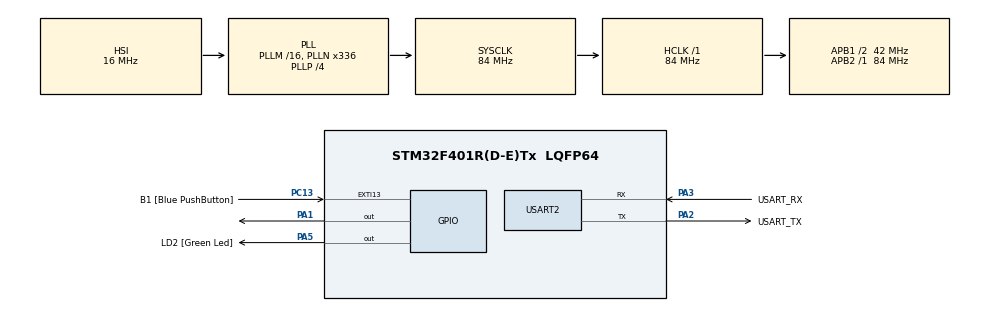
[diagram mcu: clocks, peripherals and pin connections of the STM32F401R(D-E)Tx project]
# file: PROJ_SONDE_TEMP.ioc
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Mcu.Family=STM32F4
Mcu.Name=STM32F401R(D-E)Tx
Mcu.Package=LQFP64
NVIC.PriorityGroup=NVIC_PRIORITYGROUP_4
PA1.GPIO_ModeDefaultOutputPP=GPIO_MODE_OUTPUT_OD
PA1.GPIO_PuPd=GPIO_PULLUP
PA1.Signal=GPIO_Output
PA13.GPIO_Label=TMS
PA13.Mode=Trace_Asynchronous_SW
PA13.Signal=SYS_JTMS-SWDIO
PA14.GPIO_Label=TCK
PA14.Mode=Trace_Asynchronous_SW
PA14.Signal=SYS_JTCK-SWCLK
PA2.GPIO_Label=USART_TX
PA2.GPIO_Mode=GPIO_MODE_AF_PP
PA2.GPIO_PuPd=GPIO_NOPULL
PA2.GPIO_Speed=GPIO_SPEED_FREQ_LOW
PA2.Mode=Asynchronous
PA2.Signal=USART2_TX
PA3.GPIO_Label=USART_RX
PA3.GPIO_Mode=GPIO_MODE_AF_PP
PA3.GPIO_PuPd=GPIO_NOPULL
PA3.GPIO_Speed=GPIO_SPEED_FREQ_LOW
PA3.Mode=Asynchronous
PA3.Signal=USART2_RX
PA5.GPIO_Label=LD2 [Green Led]
PA5.GPIO_Mode=GPIO_MODE_OUTPUT_PP
PA5.GPIO_PuPd=GPIO_NOPULL
PA5.GPIO_Speed=GPIO_SPEED_FREQ_LOW
PA5.Signal=GPIO_Output
PB3.GPIO_Label=SWO
PB3.Mode=Trace_Asynchronous_SW
PB3.Signal=SYS_JTDO-SWO
PC13-ANTI_TAMP.GPIO_Label=B1 [Blue PushButton]
PC13-ANTI_TAMP.GPIO_ModeDefaultEXTI=GPIO_MODE_IT_FALLING
PC13-ANTI_TAMP.GPIO_PuPd=GPIO_NOPULL
PC13-ANTI_TAMP.Signal=GPXTI13
PC14-OSC32_IN.Mode=LSE-External-Oscillator
PC14-OSC32_IN.Signal=RCC_OSC32_IN
PC15-OSC32_OUT.Mode=LSE-External-Oscillator
PC15-OSC32_OUT.Signal=RCC_OSC32_OUT
PH0\ -\ OSC_IN.Mode=HSE-External-Clock-Source
PH0\ -\ OSC_IN.Signal=RCC_OSC_IN
PH1\ -\ OSC_OUT.Mode=HSE-External-Clock-Source
PH1\ -\ OSC_OUT.Signal=RCC_OSC_OUT
ProjectManager.HeapSize=0x200
ProjectManager.StackSize=0x400
ProjectManager.TargetToolchain=STM32CubeIDE
RCC.48MHZClocksFreq_Value=48000000
RCC.AHBFreq_Value=84000000
RCC.APB1CLKDivider=RCC_HCLK_DIV2
RCC.APB1Freq_Value=42000000
RCC.APB1TimFreq_Value=84000000
RCC.APB2Freq_Value=84000000
RCC.APB2TimFreq_Value=84000000
RCC.CortexFreq_Value=84000000
RCC.HCLKFreq_Value=84000000
RCC.HSE_VALUE=8000000
RCC.HSI_VALUE=16000000
RCC.PLLN=336
RCC.PLLP=RCC_PLLP_DIV4
RCC.PLLQ=7
RCC.SYSCLKFreq_VALUE=84000000
RCC.SYSCLKSource=RCC_SYSCLKSOURCE_PLLCLK
RCC.VCOOutputFreq_Value=336000000
TIM3.AutoReloadPreload=TIM_AUTORELOAD_PRELOAD_ENABLE
TIM3.Channel-Output\ Compare1\ No\ Output=TIM_CHANNEL_1
TIM3.OCMode_1=TIM_OCMODE_TOGGLE
TIM3.Prescaler=83
USART2.VirtualMode=VM_ASYNC
VP_TIM3_VS_ClockSourceINT.Mode=Internal
VP_TIM3_VS_no_output1.Mode=Output Compare1 No Output
board=NUCLEO-F401RE

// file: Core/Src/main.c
/* USER CODE BEGIN Header */
/**
  ******************************************************************************
  * @file           : main.c
  * @brief          : Main program body
  ******************************************************************************
  * @attention
  *
  * Copyright (c) 2025 STMicroelectronics.
  * All rights reserved.
  *
  * This software is licensed under terms that can be found in the LICENSE file
  * in the root directory of this software component.
  * If no LICENSE file comes with this software, it is provided AS-IS.
  *
  ******************************************************************************
  */
/* USER CODE END Header */
#include "main.h"

/* USER CODE BEGIN Includes */
#include "onewire.h"
#include "ds18b20.h"
#include "stdio.h"
#include "string.h"
/* USER CODE END Includes */

/* USER CODE BEGIN PD */

#define DHT22_PORT GPIOA
#define DHT22_PIN GPIO_PIN_0

#define SYSTICK_LOAD (SystemCoreClock/1000000U)
#define SYSTICK_DELAY_CALIB (SYSTICK_LOAD >> 1)

#define DELAY_US(us) \
    do { \
         uint32_t start = SysTick->VAL; \
         uint32_t ticks = (us * SYSTICK_LOAD)-SYSTICK_DELAY_CALIB;  \
         while((start - SysTick->VAL) < ticks); \
    } while (0)

#define DELAY_MS(ms) \
    do { \
        for (uint32_t i = 0; i < ms; ++i) { \
            DELAY_US(1000); \
        } \
    } while (0)

/* USER CODE END PD */

TIM_HandleTypeDef htim3;

UART_HandleTypeDef huart2;

/* USER CODE BEGIN PV */
float tempC;
char msg[50];
/* USER CODE END PV */

void SystemClock_Config(void);
void MX_GPIO_Init(void);
void MX_USART2_UART_Init(void);
void MX_TIM3_Init(void);
/* USER CODE BEGIN PFP */
void DHT22_Start(void);
uint8_t DHT22_Check_Response(void);
uint8_t DHT22_Read(uint8_t *data);
uint8_t DHT22_Read_Byte(void);
void Read_DHT22_UART(void);
/* USER CODE END PFP */

/* USER CODE BEGIN 0 */

void DHT22_Start(void) {
    GPIO_InitTypeDef GPIO_InitStruct = {0};

    // Configurer la broche en sortie pour l'impulsion de départ
    GPIO_InitStruct.Pin = DHT22_PIN;
    GPIO_InitStruct.Mode = GPIO_MODE_OUTPUT_PP;
    GPIO_InitStruct.Pull = GPIO_NOPULL;
    GPIO_InitStruct.Speed = GPIO_SPEED_FREQ_LOW;
    HAL_GPIO_Init(DHT22_PORT, &GPIO_InitStruct);

    HAL_GPIO_WritePin(DHT22_PORT, DHT22_PIN, GPIO_PIN_RESET);
    HAL_Delay(2);  // >1ms pour signal de départ
    HAL_GPIO_WritePin(DHT22_PORT, DHT22_PIN, GPIO_PIN_SET);
    DELAY_US(30);  // Attente avant de lire la réponse
}

uint8_t DHT22_Check_Response(void) {
    GPIO_InitTypeDef GPIO_InitStruct = {0};

    // Passer la broche en mode entrée
    GPIO_InitStruct.Pin = DHT22_PIN;
    GPIO_InitStruct.Mode = GPIO_MODE_INPUT;
    GPIO_InitStruct.Pull = GPIO_NOPULL;
    HAL_GPIO_Init(DHT22_PORT, &GPIO_InitStruct);

    DELAY_US(40);
    if (HAL_GPIO_ReadPin(DHT22_PORT, DHT22_PIN)) return 0; // Pas de réponse

    DELAY_US(80);
    if (!HAL_GPIO_ReadPin(DHT22_PORT, DHT22_PIN)) return 0; // Mauvaise réponse

    DELAY_US(80);  // Préparation à la transmission
    return 1;
}

uint8_t DHT22_Read_Byte(void) {
    uint8_t i, data = 0;

    for (i = 0; i < 8; i++) {
        while (!HAL_GPIO_ReadPin(DHT22_PORT, DHT22_PIN));  // Attente du début du bit
        DELAY_US(40);

        if (HAL_GPIO_ReadPin(DHT22_PORT, DHT22_PIN))
            data |= (1 << (7 - i));

        while (HAL_GPIO_ReadPin(DHT22_PORT, DHT22_PIN));  // Fin du bit
    }
    return data;
}

uint8_t DHT22_Read(uint8_t *data) {
    uint8_t checksum;

    DHT22_Start();
    if (!DHT22_Check_Response()) return 0;

    data[0] = DHT22_Read_Byte();  // Humidité MSB
    data[1] = DHT22_Read_Byte();  // Humidité LSB
    data[2] = DHT22_Read_Byte();  // Température MSB
    data[3] = DHT22_Read_Byte();  // Température LSB
    checksum = DHT22_Read_Byte(); // Checksum

    if (checksum != (data[0] + data[1] + data[2] + data[3])) return 0;
    return 1;
}

void Read_DHT22_UART(void) {
    uint8_t data[5];
    char buffer[50];

    if (DHT22_Read(data)) {
        float humidity = ((data[0] << 8) | data[1]) * 0.1;
        float temperature = ((data[2] & 0x7F) << 8 | data[3]) * 0.1;
        if (data[2] & 0x80) temperature = -temperature;

        snprintf(buffer, sizeof(buffer), "Temp: %.1f°C  Hum: %.1f%%\r\n", temperature, humidity);
    } else {
        snprintf(buffer, sizeof(buffer), "DHT22 Read Error!\r\n");
    }

    HAL_UART_Transmit(&huart2, (uint8_t*)buffer, strlen(buffer), HAL_MAX_DELAY);
}

/* USER CODE END 0 */

int main(void)
{

  /* MCU Configuration--------------------------------------------------------*/

  /* Reset of all peripherals, Initializes the Flash interface and the Systick. */
  HAL_Init();

  /* Configure the system clock */
  SystemClock_Config();

  /* Initialize all configured peripherals */
  MX_GPIO_Init();
  MX_USART2_UART_Init();
  MX_TIM3_Init();
  /* USER CODE BEGIN 2 */
  HAL_TIM_Base_Start(&htim3);

  /* USER CODE END 2 */

  /* Infinite loop */
  while (1)
  {

    /* USER CODE BEGIN 3 */

	  Read_DHT22_UART();
	  // HAL_Delay(2000);  // Rafraîchir les valeurs toutes les 2 secondes

	  if (Onewire_Reset() == 0) { // 0 = capteur détecté
	      DS18B20_Start();
	      HAL_Delay(750); // Attente de conversion
	      int16_t rawTemperature = DS18B20_ReadTemperature();
	      float tempC = (float)(rawTemperature / 16.0); // Conversion en °C

	      sprintf(msg, "Temperature_sonde : %.2f °C\r\n", tempC);
	      HAL_UART_Transmit(&huart2, (uint8_t*)msg, strlen(msg), 100);

  }
  /* USER CODE END 3 */
}
}

void SystemClock_Config(void)
{
  RCC_OscInitTypeDef RCC_OscInitStruct = {0};
  RCC_ClkInitTypeDef RCC_ClkInitStruct = {0};

  /** Configure the main internal regulator output voltage
  */
  __HAL_RCC_PWR_CLK_ENABLE();
  __HAL_PWR_VOLTAGESCALING_CONFIG(PWR_REGULATOR_VOLTAGE_SCALE2);

  /** Initializes the RCC Oscillators according to the specified parameters
  * in the RCC_OscInitTypeDef structure.
  */
  RCC_OscInitStruct.OscillatorType = RCC_OSCILLATORTYPE_HSI;
  RCC_OscInitStruct.HSIState = RCC_HSI_ON;
  RCC_OscInitStruct.HSICalibrationValue = RCC_HSICALIBRATION_DEFAULT;
  RCC_OscInitStruct.PLL.PLLState = RCC_PLL_ON;
  RCC_OscInitStruct.PLL.PLLSource = RCC_PLLSOURCE_HSI;
  RCC_OscInitStruct.PLL.PLLM = 16;
  RCC_OscInitStruct.PLL.PLLN = 336;
  RCC_OscInitStruct.PLL.PLLP = RCC_PLLP_DIV4;
  RCC_OscInitStruct.PLL.PLLQ = 7;
  if (HAL_RCC_OscConfig(&RCC_OscInitStruct) != HAL_OK)
  {
    Error_Handler();
  }

  /** Initializes the CPU, AHB and APB buses clocks
  */
  RCC_ClkInitStruct.ClockType = RCC_CLOCKTYPE_HCLK|RCC_CLOCKTYPE_SYSCLK
                              |RCC_CLOCKTYPE_PCLK1|RCC_CLOCKTYPE_PCLK2;
  RCC_ClkInitStruct.SYSCLKSource = RCC_SYSCLKSOURCE_PLLCLK;
  RCC_ClkInitStruct.AHBCLKDivider = RCC_SYSCLK_DIV1;
  RCC_ClkInitStruct.APB1CLKDivider = RCC_HCLK_DIV2;
  RCC_ClkInitStruct.APB2CLKDivider = RCC_HCLK_DIV1;

  if (HAL_RCC_ClockConfig(&RCC_ClkInitStruct, FLASH_LATENCY_2) != HAL_OK)
  {
    Error_Handler();
  }
}

void MX_TIM3_Init(void)
{

  TIM_ClockConfigTypeDef sClockSourceConfig = {0};
  TIM_MasterConfigTypeDef sMasterConfig = {0};
  TIM_OC_InitTypeDef sConfigOC = {0};

  htim3.Instance = TIM3;
  htim3.Init.Prescaler = 83;
  htim3.Init.CounterMode = TIM_COUNTERMODE_UP;
  htim3.Init.Period = 65535;
  htim3.Init.ClockDivision = TIM_CLOCKDIVISION_DIV1;
  htim3.Init.AutoReloadPreload = TIM_AUTORELOAD_PRELOAD_ENABLE;
  if (HAL_TIM_Base_Init(&htim3) != HAL_OK)
  {
    Error_Handler();
  }
  sClockSourceConfig.ClockSource = TIM_CLOCKSOURCE_INTERNAL;
  if (HAL_TIM_ConfigClockSource(&htim3, &sClockSourceConfig) != HAL_OK)
  {
    Error_Handler();
  }
  if (HAL_TIM_OC_Init(&htim3) != HAL_OK)
  {
    Error_Handler();
  }
  sMasterConfig.MasterOutputTrigger = TIM_TRGO_RESET;
  sMasterConfig.MasterSlaveMode = TIM_MASTERSLAVEMODE_DISABLE;
  if (HAL_TIMEx_MasterConfigSynchronization(&htim3, &sMasterConfig) != HAL_OK)
  {
    Error_Handler();
  }
  sConfigOC.OCMode = TIM_OCMODE_TOGGLE;
  sConfigOC.Pulse = 0;
  sConfigOC.OCPolarity = TIM_OCPOLARITY_HIGH;
  sConfigOC.OCFastMode = TIM_OCFAST_DISABLE;
  if (HAL_TIM_OC_ConfigChannel(&htim3, &sConfigOC, TIM_CHANNEL_1) != HAL_OK)
  {
    Error_Handler();
  }

}

void MX_USART2_UART_Init(void)
{

  huart2.Instance = USART2;
  huart2.Init.BaudRate = 115200;
  huart2.Init.WordLength = UART_WORDLENGTH_8B;
  huart2.Init.StopBits = UART_STOPBITS_1;
  huart2.Init.Parity = UART_PARITY_NONE;
  huart2.Init.Mode = UART_MODE_TX_RX;
  huart2.Init.HwFlowCtl = UART_HWCONTROL_NONE;
  huart2.Init.OverSampling = UART_OVERSAMPLING_16;
  if (HAL_UART_Init(&huart2) != HAL_OK)
  {
    Error_Handler();
  }

}

void MX_GPIO_Init(void)
{
  GPIO_InitTypeDef GPIO_InitStruct = {0};

  /* GPIO Ports Clock Enable */
  __HAL_RCC_GPIOC_CLK_ENABLE();
  __HAL_RCC_GPIOH_CLK_ENABLE();
  __HAL_RCC_GPIOA_CLK_ENABLE();
  __HAL_RCC_GPIOB_CLK_ENABLE();

  /*Configure GPIO pin Output Level */
  HAL_GPIO_WritePin(GPIOA, GPIO_PIN_1|LD2_Pin, GPIO_PIN_RESET);

  /*Configure GPIO pin : B1_Pin */
  GPIO_InitStruct.Pin = B1_Pin;
  GPIO_InitStruct.Mode = GPIO_MODE_IT_FALLING;
  GPIO_InitStruct.Pull = GPIO_NOPULL;
  HAL_GPIO_Init(B1_GPIO_Port, &GPIO_InitStruct);

  /*Configure GPIO pin : PA1 */
  GPIO_InitStruct.Pin = GPIO_PIN_1;
  GPIO_InitStruct.Mode = GPIO_MODE_OUTPUT_OD;
  GPIO_InitStruct.Pull = GPIO_PULLUP;
  GPIO_InitStruct.Speed = GPIO_SPEED_FREQ_LOW;
  HAL_GPIO_Init(GPIOA, &GPIO_InitStruct);

  /*Configure GPIO pin : LD2_Pin */
  GPIO_InitStruct.Pin = LD2_Pin;
  GPIO_InitStruct.Mode = GPIO_MODE_OUTPUT_PP;
  GPIO_InitStruct.Pull = GPIO_NOPULL;
  GPIO_InitStruct.Speed = GPIO_SPEED_FREQ_LOW;
  HAL_GPIO_Init(LD2_GPIO_Port, &GPIO_InitStruct);

}

void Error_Handler(void)
{
  __disable_irq();
  while (1)
  {
  }
}
